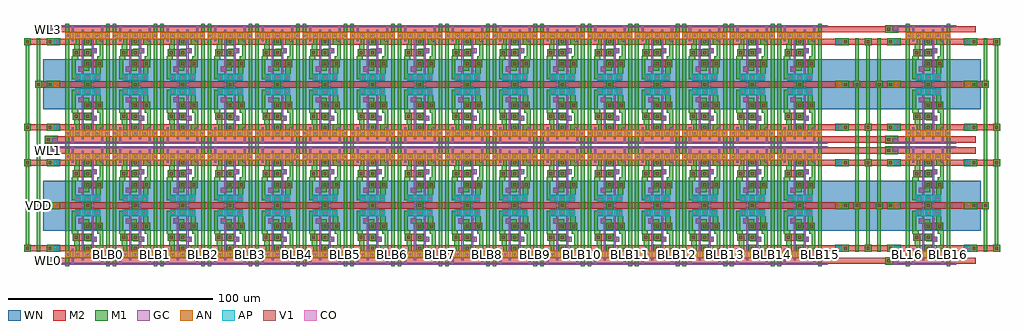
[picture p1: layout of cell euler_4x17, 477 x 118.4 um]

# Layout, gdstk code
import gdstk
lib = gdstk.Library(unit=1e-6, precision=1e-07)
def R(c, l, rs):  # rectangles x0, y0, x1, y1
    for r in rs: c.add(gdstk.rectangle(r[:2], r[2:], *l))
def A(c, l, x, y, w, h, nx, ny, dx, dy):  # array of equal rectangles
    R(c, l, [(x+i*dx, y+j*dy, x+i*dx+w, y+j*dy+h) for i in range(nx) for j in range(ny)])
def P(c, l, *ps):  # polygons
    for p in ps: c.add(gdstk.Polygon(p, *l))
AP = (3, 1)
AN = (3, 2)
GC = (8, 1)
CO = (11, 0)
M1 = (13, 0)
V1 = (19, 0)
M2 = (20, 0)
WN = (140, 0)

euler = lib.new_cell('euler')
R(euler, AP, [(3.5,18.7,15.7,22.1)])
R(euler, AN, [(-1.3,-1.7,20.5,1.7)])
R(euler, GC, [(0,-5.1,23.2,-4.1), (1.9,-5.1,2.9,2.9), (16.3,-5.1,17.3,2.9), (6.7,-2.9,7.7,23.3), (11.5,-2.9,12.5,23.3), (11.5,6.1,14.1,8.7), (11.5,6.9,13.3,7.9), (5.1,15.1,7.7,17.7), (5.9,15.9,7.7,16.9)])
A(euler, CO, -0.5, -0.5, 1, 1, 5, 1, 4.8, 0)
A(euler, CO, 4.3, 19.9, 1, 1, 3, 1, 4.8, 0)
R(euler, CO, [(12.3,6.9,13.3,7.9), (5.9,15.9,6.9,16.9)])
P(euler, M1, [(8.3,-1.3),(8.3,1.3),(7.9,1.3),(7.9,4.7),(11.3,4.7),(11.3,1.3),(10.9,1.3),(10.9,-1.3)],
  [(11.5,6.1),(11.5,6.5),(8.7,6.5),(8.7,6.7),(7.9,6.7),(7.9,10.1),(11.3,10.1),(11.3,8.7),(14.1,8.7),(14.1,6.1)],
  [(7.9,12.1),(7.9,15.1),(5.1,15.1),(5.1,17.7),(7.7,17.7),(7.7,17.3),(10.5,17.3),(10.5,15.5),(11.3,15.5),(11.3,12.1)],
  [(3.5,-1.3),(3.5,1.3),(3.9,1.3),(3.9,4.1),(3.1,4.1),(3.1,6.7),(2.3,6.7),(2.3,10.1),(1.9,10.1),(1.9,21.3),(3.5,21.3),(3.5,21.7),(6.1,21.7),(6.1,19.1),(3.7,19.1),(3.7,11.9),(4.9,11.9),(4.9,10.1),(5.7,10.1),(5.7,1.3),(6.1,1.3),(6.1,-1.3)],
  [(13.1,-1.3),(13.1,1.3),(13.5,1.3),(13.5,4.5),(15.5,4.5),(15.5,10.1),(14.3,10.1),(14.3,12.1),(13.5,12.1),(13.5,19.1),(13.1,19.1),(13.1,21.7),(15.7,21.7),(15.7,18.7),(16.1,18.7),(16.1,15.5),(16.9,15.5),(16.9,11.9),(17.3,11.9),(17.3,2.7),(15.7,2.7),(15.7,-1.3)],
  [(-1.3,-5.7),(-1.3,23.9),(0.5,23.9),(0.5,1.3),(1.3,1.3),(1.3,-1.3),(0.5,-1.3),(0.5,-5.7)],
  [(18.7,-5.7),(18.7,-1.3),(17.9,-1.3),(17.9,1.3),(18.7,1.3),(18.7,23.9),(20.5,23.9),(20.5,-5.7)],
  [(8.3,19.1),(8.3,22.2),(7.9,22.2),(7.9,25.6),(11.3,25.6),(11.3,22.2),(10.9,22.2),(10.9,19.1)])
A(euler, V1, 8.9, 2.3, 1.4, 1.4, 1, 3, 0, 5.4)
R(euler, V1, [(3.3,7.7,4.7,9.1), (14.5,13.1,15.9,14.5), (8.9,23.2,10.3,24.6)])
A(euler, M2, 7.9, 1.3, 3.4, 3.4, 1, 3, 0, 5.4)
R(euler, M2, [(0,-4.5,23.2,-1.5), (0,1.5,23.2,4.5), (2.3,6.7,5.7,10.1), (2.3,6.7,11.3,10.1), (7.9,12.1,16.9,15.5), (13.5,12.1,16.9,15.5), (7.9,22.2,11.3,25.6), (0,22.4,23.2,25.4)])
R(euler, WN, [(-3.5,11.7,26.7,29.1)])

euler_4x17 = lib.new_cell('euler_4x17')
R(euler_4x17, AP, [(-6.9,7.4,-4.3,10), (375.5,7.4,378.1,10), (403.9,7.4,406.5,10), (438.3,7.4,440.9,10), (-6.9,49.2,-4.3,51.8), (375.5,49.2,378.1,51.8), (403.9,49.2,406.5,51.8), (438.3,49.2,440.9,51.8), (-6.9,66.6,-4.3,69.2), (375.5,66.6,378.1,69.2), (403.9,66.6,406.5,69.2), (438.3,66.6,440.9,69.2), (-6.9,108.4,-4.3,111), (375.5,108.4,378.1,111), (403.9,108.4,406.5,111), (438.3,108.4,440.9,111)])
R(euler_4x17, AN, [(-6.9,28.3,-4.3,30.9), (375.5,28.3,378.1,30.9), (403.9,28.3,406.5,30.9), (438.3,28.3,440.9,30.9), (-6.9,87.5,-4.3,90.1), (375.5,87.5,378.1,90.1), (403.9,87.5,406.5,90.1), (438.3,87.5,440.9,90.1)])
R(euler_4x17, GC, [(-6.9,0.6,-5.9,2.5), (-6.4,0.6,0,1.6), (403.9,0.6,404.9,2.5), (404.4,0.6,410.8,1.6), (-7.7,0.7,-5.1,3.3), (403.1,0.7,405.7,3.3), (-7.7,55.9,-5.1,58.5), (403.1,55.9,405.7,58.5), (-6.9,56.7,-5.9,58.6), (403.9,56.7,404.9,58.6), (-6.4,57.6,0,58.6), (404.4,57.6,410.8,58.6), (-6.9,59.8,-5.9,61.7), (-6.4,59.8,0,60.8), (403.9,59.8,404.9,61.7), (404.4,59.8,410.8,60.8), (-7.7,59.9,-5.1,62.5), (403.1,59.9,405.7,62.5), (-7.7,115.1,-5.1,117.7), (403.1,115.1,405.7,117.7), (-6.9,115.9,-5.9,117.8), (403.9,115.9,404.9,117.8), (-6.4,116.8,0,117.8), (404.4,116.8,410.8,117.8)])
A(euler_4x17, CO, -6.1, 8.2, 1, 1, 1, 3, 0, 20.9)
A(euler_4x17, CO, 376.3, 8.2, 1, 1, 1, 3, 0, 20.9)
A(euler_4x17, CO, 404.7, 8.2, 1, 1, 1, 3, 0, 20.9)
A(euler_4x17, CO, 439.1, 8.2, 1, 1, 1, 3, 0, 20.9)
A(euler_4x17, CO, -6.1, 67.4, 1, 1, 1, 3, 0, 20.9)
A(euler_4x17, CO, 376.3, 67.4, 1, 1, 1, 3, 0, 20.9)
A(euler_4x17, CO, 404.7, 67.4, 1, 1, 1, 3, 0, 20.9)
A(euler_4x17, CO, 439.1, 67.4, 1, 1, 1, 3, 0, 20.9)
R(euler_4x17, CO, [(-6.9,1.5,-5.9,2.5), (403.9,1.5,404.9,2.5), (-6.9,56.7,-5.9,57.7), (403.9,56.7,404.9,57.7), (-6.9,60.7,-5.9,61.7), (403.9,60.7,404.9,61.7), (-6.9,115.9,-5.9,116.9), (403.9,115.9,404.9,116.9)])
A(euler_4x17, M1, -10.5, 7, 3.4, 3.4, 1, 3, 0, 20.9)
A(euler_4x17, M1, -10.5, 7, 6.6, 3.4, 1, 3, 0, 20.9)
A(euler_4x17, M1, 375.1, 7, 6.6, 3.4, 1, 3, 0, 20.9)
A(euler_4x17, M1, 378.3, 7, 3.4, 3.4, 1, 3, 0, 20.9)
A(euler_4x17, M1, 400.3, 7, 3.4, 3.4, 1, 3, 0, 20.9)
A(euler_4x17, M1, 400.3, 7, 6.6, 3.4, 1, 3, 0, 20.9)
A(euler_4x17, M1, 437.9, 7, 6.6, 3.4, 1, 3, 0, 20.9)
A(euler_4x17, M1, 441.1, 7, 3.4, 3.4, 1, 3, 0, 20.9)
A(euler_4x17, M1, -6.9, 7.4, 2.6, 2.6, 1, 3, 0, 20.9)
A(euler_4x17, M1, 375.5, 7.4, 2.6, 2.6, 1, 3, 0, 20.9)
A(euler_4x17, M1, 403.9, 7.4, 2.6, 2.6, 1, 3, 0, 20.9)
A(euler_4x17, M1, 438.3, 7.4, 2.6, 2.6, 1, 3, 0, 20.9)
A(euler_4x17, M1, -10.5, 66.2, 3.4, 3.4, 1, 3, 0, 20.9)
A(euler_4x17, M1, -10.5, 66.2, 6.6, 3.4, 1, 3, 0, 20.9)
A(euler_4x17, M1, 375.1, 66.2, 6.6, 3.4, 1, 3, 0, 20.9)
A(euler_4x17, M1, 378.3, 66.2, 3.4, 3.4, 1, 3, 0, 20.9)
A(euler_4x17, M1, 400.3, 66.2, 3.4, 3.4, 1, 3, 0, 20.9)
A(euler_4x17, M1, 400.3, 66.2, 6.6, 3.4, 1, 3, 0, 20.9)
A(euler_4x17, M1, 437.9, 66.2, 6.6, 3.4, 1, 3, 0, 20.9)
A(euler_4x17, M1, 441.1, 66.2, 3.4, 3.4, 1, 3, 0, 20.9)
A(euler_4x17, M1, -6.9, 66.6, 2.6, 2.6, 1, 3, 0, 20.9)
A(euler_4x17, M1, 375.5, 66.6, 2.6, 2.6, 1, 3, 0, 20.9)
A(euler_4x17, M1, 403.9, 66.6, 2.6, 2.6, 1, 3, 0, 20.9)
A(euler_4x17, M1, 438.3, 66.6, 2.6, 2.6, 1, 3, 0, 20.9)
R(euler_4x17, M1, [(-11.3,0.7,-5.1,4.4), (-7.7,0.7,-5.1,3.3), (399.5,0.7,405.7,4.4), (403.1,0.7,405.7,3.3), (-11.3,1,-7.9,4.4), (399.5,1,402.9,4.4), (-21.5,7,-18.1,10.4), (-20.7,7,-18.9,111.4), (-15.3,7,-13.5,111.4), (384.7,7,386.5,111.4), (389.3,7,392.7,10.4), (389.3,7,392.7,10.4), (390.1,7,391.9,111.4), (390.1,7,391.9,111.4), (395.5,7,397.3,111.4), (447.5,7,449.3,111.4), (452.1,7,455.5,10.4), (452.9,7,454.7,111.4), (-16.1,27.9,-12.7,31.3), (383.9,27.9,387.3,31.3), (394.7,27.9,398.1,31.3), (446.7,27.9,450.1,31.3), (-21.5,48.8,-18.1,52.2), (389.3,48.8,392.7,52.2), (389.3,48.8,392.7,52.2), (452.1,48.8,455.5,52.2), (-11.3,54.8,-7.9,58.2), (-11.3,54.8,-5.1,58.5), (399.5,54.8,402.9,58.2), (399.5,54.8,405.7,58.5), (-7.7,55.9,-5.1,58.5), (403.1,55.9,405.7,58.5), (-11.3,59.9,-5.1,63.6), (-7.7,59.9,-5.1,62.5), (399.5,59.9,405.7,63.6), (403.1,59.9,405.7,62.5), (-11.3,60.2,-7.9,63.6), (399.5,60.2,402.9,63.6), (-21.5,66.2,-18.1,69.6), (389.3,66.2,392.7,69.6), (389.3,66.2,392.7,69.6), (452.1,66.2,455.5,69.6), (-16.1,87.1,-12.7,90.5), (383.9,87.1,387.3,90.5), (394.7,87.1,398.1,90.5), (446.7,87.1,450.1,90.5), (-21.5,108,-18.1,111.4), (389.3,108,392.7,111.4), (389.3,108,392.7,111.4), (452.1,108,455.5,111.4), (-11.3,114,-7.9,117.4), (-11.3,114,-5.1,117.7), (399.5,114,402.9,117.4), (399.5,114,405.7,117.7), (-7.7,115.1,-5.1,117.7), (403.1,115.1,405.7,117.7)])
A(euler_4x17, V1, -9.5, 8, 1.4, 1.4, 1, 3, 0, 20.9)
A(euler_4x17, V1, 379.3, 8, 1.4, 1.4, 1, 3, 0, 20.9)
A(euler_4x17, V1, 401.3, 8, 1.4, 1.4, 1, 3, 0, 20.9)
A(euler_4x17, V1, 442.1, 8, 1.4, 1.4, 1, 3, 0, 20.9)
A(euler_4x17, V1, -9.5, 67.2, 1.4, 1.4, 1, 3, 0, 20.9)
A(euler_4x17, V1, 379.3, 67.2, 1.4, 1.4, 1, 3, 0, 20.9)
A(euler_4x17, V1, 401.3, 67.2, 1.4, 1.4, 1, 3, 0, 20.9)
A(euler_4x17, V1, 442.1, 67.2, 1.4, 1.4, 1, 3, 0, 20.9)
R(euler_4x17, V1, [(-10.3,2,-8.9,3.4), (400.5,2,401.9,3.4), (-20.5,8,-19.1,9.4), (390.3,8,391.7,9.4), (390.3,8,391.7,9.4), (453.1,8,454.5,9.4), (-15.1,28.9,-13.7,30.3), (384.9,28.9,386.3,30.3), (395.7,28.9,397.1,30.3), (447.7,28.9,449.1,30.3), (-20.5,49.8,-19.1,51.2), (390.3,49.8,391.7,51.2), (390.3,49.8,391.7,51.2), (453.1,49.8,454.5,51.2), (-10.3,55.8,-8.9,57.2), (400.5,55.8,401.9,57.2), (-10.3,61.2,-8.9,62.6), (400.5,61.2,401.9,62.6), (-20.5,67.2,-19.1,68.6), (390.3,67.2,391.7,68.6), (390.3,67.2,391.7,68.6), (453.1,67.2,454.5,68.6), (-15.1,88.1,-13.7,89.5), (384.9,88.1,386.3,89.5), (395.7,88.1,397.1,89.5), (447.7,88.1,449.1,89.5), (-20.5,109,-19.1,110.4), (390.3,109,391.7,110.4), (390.3,109,391.7,110.4), (453.1,109,454.5,110.4), (-10.3,115,-8.9,116.4), (400.5,115,401.9,116.4)])
A(euler_4x17, M2, -10.5, 7, 3.4, 3.4, 1, 3, 0, 20.9)
A(euler_4x17, M2, 378.3, 7, 3.4, 3.4, 1, 3, 0, 20.9)
A(euler_4x17, M2, 400.3, 7, 3.4, 3.4, 1, 3, 0, 20.9)
A(euler_4x17, M2, 441.1, 7, 3.4, 3.4, 1, 3, 0, 20.9)
A(euler_4x17, M2, -10.5, 66.2, 3.4, 3.4, 1, 3, 0, 20.9)
A(euler_4x17, M2, 378.3, 66.2, 3.4, 3.4, 1, 3, 0, 20.9)
A(euler_4x17, M2, 400.3, 66.2, 3.4, 3.4, 1, 3, 0, 20.9)
A(euler_4x17, M2, 441.1, 66.2, 3.4, 3.4, 1, 3, 0, 20.9)
R(euler_4x17, M2, [(-11.3,1,-7.9,4.4), (399.5,1,402.9,4.4), (-9.6,1.2,443.6,4.2), (-21.5,7,-18.1,10.4), (389.3,7,392.7,10.4), (389.3,7,392.7,10.4), (452.1,7,455.5,10.4), (-21.5,7.2,435.7,10.2), (-1.7,7.2,455.5,10.2), (-1.7,7.2,435.7,10.2), (-1.7,7.2,435.7,10.2), (-16.1,27.9,-12.7,31.3), (383.9,27.9,387.3,31.3), (394.7,27.9,398.1,31.3), (446.7,27.9,450.1,31.3), (-16.1,28.1,435.7,31.1), (-1.7,28.1,450.1,31.1), (-1.7,28.1,435.7,31.1), (-1.7,28.1,435.7,31.1), (-21.5,48.8,-18.1,52.2), (389.3,48.8,392.7,52.2), (389.3,48.8,392.7,52.2), (452.1,48.8,455.5,52.2), (-21.5,49,435.7,52), (-1.7,49,455.5,52), (-1.7,49,435.7,52), (-1.7,49,435.7,52), (-11.3,54.8,-7.9,58.2), (399.5,54.8,402.9,58.2), (-9.6,55,443.6,58), (-11.3,60.2,-7.9,63.6), (399.5,60.2,402.9,63.6), (-9.6,60.4,443.6,63.4), (-21.5,66.2,-18.1,69.6), (389.3,66.2,392.7,69.6), (389.3,66.2,392.7,69.6), (452.1,66.2,455.5,69.6), (-21.5,66.4,435.7,69.4), (-1.7,66.4,455.5,69.4), (-1.7,66.4,435.7,69.4), (-1.7,66.4,435.7,69.4), (-16.1,87.1,-12.7,90.5), (383.9,87.1,387.3,90.5), (394.7,87.1,398.1,90.5), (446.7,87.1,450.1,90.5), (-16.1,87.3,435.7,90.3), (-1.7,87.3,450.1,90.3), (-1.7,87.3,435.7,90.3), (-1.7,87.3,435.7,90.3), (-21.5,108,-18.1,111.4), (389.3,108,392.7,111.4), (389.3,108,392.7,111.4), (452.1,108,455.5,111.4), (-21.5,108.2,435.7,111.2), (-1.7,108.2,455.5,111.2), (-1.7,108.2,435.7,111.2), (-1.7,108.2,435.7,111.2), (-11.3,114,-7.9,117.4), (399.5,114,402.9,117.4), (-9.6,114.2,443.6,117.2)])
R(euler_4x17, WN, [(-12,17.4,446,41.8), (0,17.4,446,41.8), (0,17.4,446,41.8), (398.8,17.4,446,41.8), (-12,76.6,446,101), (0,76.6,446,101), (0,76.6,446,101), (398.8,76.6,446,101)])
euler_4x17.add(gdstk.Reference(euler, (0,5.7)))
euler_4x17.add(gdstk.Reference(euler, (23.2,5.7)))
euler_4x17.add(gdstk.Reference(euler, (46.4,5.7)))
euler_4x17.add(gdstk.Reference(euler, (69.6,5.7)))
euler_4x17.add(gdstk.Reference(euler, (92.8,5.7)))
euler_4x17.add(gdstk.Reference(euler, (116,5.7)))
euler_4x17.add(gdstk.Reference(euler, (139.2,5.7)))
euler_4x17.add(gdstk.Reference(euler, (162.4,5.7)))
euler_4x17.add(gdstk.Reference(euler, (185.6,5.7)))
euler_4x17.add(gdstk.Reference(euler, (208.8,5.7)))
euler_4x17.add(gdstk.Reference(euler, (232,5.7)))
euler_4x17.add(gdstk.Reference(euler, (255.2,5.7)))
euler_4x17.add(gdstk.Reference(euler, (278.4,5.7)))
euler_4x17.add(gdstk.Reference(euler, (301.6,5.7)))
euler_4x17.add(gdstk.Reference(euler, (324.8,5.7)))
euler_4x17.add(gdstk.Reference(euler, (348,5.7)))
euler_4x17.add(gdstk.Reference(euler, (410.8,5.7)))
euler_4x17.add(gdstk.Reference(euler, (0,53.5), x_reflection=True))
euler_4x17.add(gdstk.Reference(euler, (23.2,53.5), x_reflection=True))
euler_4x17.add(gdstk.Reference(euler, (46.4,53.5), x_reflection=True))
euler_4x17.add(gdstk.Reference(euler, (69.6,53.5), x_reflection=True))
euler_4x17.add(gdstk.Reference(euler, (92.8,53.5), x_reflection=True))
euler_4x17.add(gdstk.Reference(euler, (116,53.5), x_reflection=True))
euler_4x17.add(gdstk.Reference(euler, (139.2,53.5), x_reflection=True))
euler_4x17.add(gdstk.Reference(euler, (162.4,53.5), x_reflection=True))
euler_4x17.add(gdstk.Reference(euler, (185.6,53.5), x_reflection=True))
euler_4x17.add(gdstk.Reference(euler, (208.8,53.5), x_reflection=True))
euler_4x17.add(gdstk.Reference(euler, (232,53.5), x_reflection=True))
euler_4x17.add(gdstk.Reference(euler, (255.2,53.5), x_reflection=True))
euler_4x17.add(gdstk.Reference(euler, (278.4,53.5), x_reflection=True))
euler_4x17.add(gdstk.Reference(euler, (301.6,53.5), x_reflection=True))
euler_4x17.add(gdstk.Reference(euler, (324.8,53.5), x_reflection=True))
euler_4x17.add(gdstk.Reference(euler, (348,53.5), x_reflection=True))
euler_4x17.add(gdstk.Reference(euler, (410.8,53.5), x_reflection=True))
euler_4x17.add(gdstk.Reference(euler, (0,64.9)))
euler_4x17.add(gdstk.Reference(euler, (23.2,64.9)))
euler_4x17.add(gdstk.Reference(euler, (46.4,64.9)))
euler_4x17.add(gdstk.Reference(euler, (69.6,64.9)))
euler_4x17.add(gdstk.Reference(euler, (92.8,64.9)))
euler_4x17.add(gdstk.Reference(euler, (116,64.9)))
euler_4x17.add(gdstk.Reference(euler, (139.2,64.9)))
euler_4x17.add(gdstk.Reference(euler, (162.4,64.9)))
euler_4x17.add(gdstk.Reference(euler, (185.6,64.9)))
euler_4x17.add(gdstk.Reference(euler, (208.8,64.9)))
euler_4x17.add(gdstk.Reference(euler, (232,64.9)))
euler_4x17.add(gdstk.Reference(euler, (255.2,64.9)))
euler_4x17.add(gdstk.Reference(euler, (278.4,64.9)))
euler_4x17.add(gdstk.Reference(euler, (301.6,64.9)))
euler_4x17.add(gdstk.Reference(euler, (324.8,64.9)))
euler_4x17.add(gdstk.Reference(euler, (348,64.9)))
euler_4x17.add(gdstk.Reference(euler, (410.8,64.9)))
euler_4x17.add(gdstk.Reference(euler, (0,112.7), x_reflection=True))
euler_4x17.add(gdstk.Reference(euler, (23.2,112.7), x_reflection=True))
euler_4x17.add(gdstk.Reference(euler, (46.4,112.7), x_reflection=True))
euler_4x17.add(gdstk.Reference(euler, (69.6,112.7), x_reflection=True))
euler_4x17.add(gdstk.Reference(euler, (92.8,112.7), x_reflection=True))
euler_4x17.add(gdstk.Reference(euler, (116,112.7), x_reflection=True))
euler_4x17.add(gdstk.Reference(euler, (139.2,112.7), x_reflection=True))
euler_4x17.add(gdstk.Reference(euler, (162.4,112.7), x_reflection=True))
euler_4x17.add(gdstk.Reference(euler, (185.6,112.7), x_reflection=True))
euler_4x17.add(gdstk.Reference(euler, (208.8,112.7), x_reflection=True))
euler_4x17.add(gdstk.Reference(euler, (232,112.7), x_reflection=True))
euler_4x17.add(gdstk.Reference(euler, (255.2,112.7), x_reflection=True))
euler_4x17.add(gdstk.Reference(euler, (278.4,112.7), x_reflection=True))
euler_4x17.add(gdstk.Reference(euler, (301.6,112.7), x_reflection=True))
euler_4x17.add(gdstk.Reference(euler, (324.8,112.7), x_reflection=True))
euler_4x17.add(gdstk.Reference(euler, (348,112.7), x_reflection=True))
euler_4x17.add(gdstk.Reference(euler, (410.8,112.7), x_reflection=True))
euler_4x17.add(gdstk.Label('WL0', (-9.6,2.7), layer=49, texttype=0))
euler_4x17.add(gdstk.Label('WL1', (-9.6,56.5), layer=49, texttype=0))
euler_4x17.add(gdstk.Label('WL2', (-9.6,61.9), layer=49, texttype=0))
euler_4x17.add(gdstk.Label('WL3', (-9.6,115.7), layer=49, texttype=0))
euler_4x17.add(gdstk.Label('VDD', (-14.4,29.6), layer=48, texttype=0))
euler_4x17.add(gdstk.Label('VSS', (-19.8,8.7), layer=48, texttype=0))
euler_4x17.add(gdstk.Label('BL0', (-0.4,5.7), layer=48, texttype=0))
euler_4x17.add(gdstk.Label('BLB0', (19.6,5.7), layer=48, texttype=0))
euler_4x17.add(gdstk.Label('BL1', (22.8,5.7), layer=48, texttype=0))
euler_4x17.add(gdstk.Label('BLB1', (42.8,5.7), layer=48, texttype=0))
euler_4x17.add(gdstk.Label('BL2', (46,5.7), layer=48, texttype=0))
euler_4x17.add(gdstk.Label('BLB2', (66,5.7), layer=48, texttype=0))
euler_4x17.add(gdstk.Label('BL3', (69.2,5.7), layer=48, texttype=0))
euler_4x17.add(gdstk.Label('BLB3', (89.2,5.7), layer=48, texttype=0))
euler_4x17.add(gdstk.Label('BL4', (92.4,5.7), layer=48, texttype=0))
euler_4x17.add(gdstk.Label('BLB4', (112.4,5.7), layer=48, texttype=0))
euler_4x17.add(gdstk.Label('BL5', (115.6,5.7), layer=48, texttype=0))
euler_4x17.add(gdstk.Label('BLB5', (135.6,5.7), layer=48, texttype=0))
euler_4x17.add(gdstk.Label('BL6', (138.8,5.7), layer=48, texttype=0))
euler_4x17.add(gdstk.Label('BLB6', (158.8,5.7), layer=48, texttype=0))
euler_4x17.add(gdstk.Label('BL7', (162,5.7), layer=48, texttype=0))
euler_4x17.add(gdstk.Label('BLB7', (182,5.7), layer=48, texttype=0))
euler_4x17.add(gdstk.Label('BL8', (185.2,5.7), layer=48, texttype=0))
euler_4x17.add(gdstk.Label('BLB8', (205.2,5.7), layer=48, texttype=0))
euler_4x17.add(gdstk.Label('BL9', (208.4,5.7), layer=48, texttype=0))
euler_4x17.add(gdstk.Label('BLB9', (228.4,5.7), layer=48, texttype=0))
euler_4x17.add(gdstk.Label('BL10', (231.6,5.7), layer=48, texttype=0))
euler_4x17.add(gdstk.Label('BLB10', (251.6,5.7), layer=48, texttype=0))
euler_4x17.add(gdstk.Label('BL11', (254.8,5.7), layer=48, texttype=0))
euler_4x17.add(gdstk.Label('BLB11', (274.8,5.7), layer=48, texttype=0))
euler_4x17.add(gdstk.Label('BL12', (278,5.7), layer=48, texttype=0))
euler_4x17.add(gdstk.Label('BLB12', (298,5.7), layer=48, texttype=0))
euler_4x17.add(gdstk.Label('BL13', (301.2,5.7), layer=48, texttype=0))
euler_4x17.add(gdstk.Label('BLB13', (321.2,5.7), layer=48, texttype=0))
euler_4x17.add(gdstk.Label('BL14', (324.4,5.7), layer=48, texttype=0))
euler_4x17.add(gdstk.Label('BLB14', (344.4,5.7), layer=48, texttype=0))
euler_4x17.add(gdstk.Label('BL15', (347.6,5.7), layer=48, texttype=0))
euler_4x17.add(gdstk.Label('BLB15', (367.6,5.7), layer=48, texttype=0))
euler_4x17.add(gdstk.Label('BL16', (410.4,5.7), layer=48, texttype=0))
euler_4x17.add(gdstk.Label('BLB16', (430.4,5.7), layer=48, texttype=0))

lib.write_gds('euler_4x17.gds')
